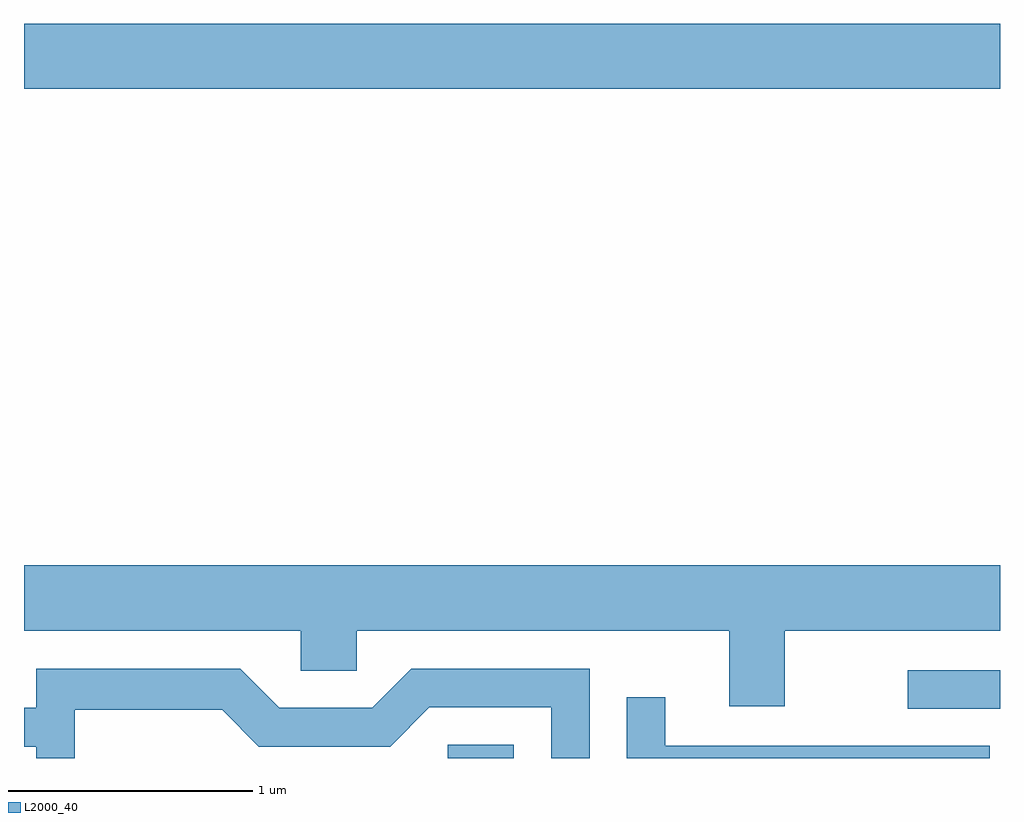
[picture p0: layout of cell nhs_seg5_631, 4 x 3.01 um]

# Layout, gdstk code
import gdstk
lib = gdstk.Library(unit=1e-6, precision=1e-09)
def R(c, l, rs):  # rectangles x0, y0, x1, y1
    for r in rs: c.add(gdstk.rectangle(r[:2], r[2:], *l))
def P(c, l, *ps):  # polygons
    for p in ps: c.add(gdstk.Polygon(p, *l))
L2000_40 = (2000, 40)

nhs_seg5_631 = lib.new_cell('nhs_seg5_631')
R(nhs_seg5_631, L2000_40, [(205.348,1434.072,205.619,1434.129), (207.233,1434.276,207.611,1434.434), (203.611,1436.816,207.611,1437.084)])
P(nhs_seg5_631, L2000_40, [(206.729,1434.596),(207.611,1434.596),(207.611,1434.864),(203.611,1434.864),(203.611,1434.596),(204.746,1434.596),(204.746,1434.431),(204.974,1434.431),(204.974,1434.596),(206.501,1434.596),(206.501,1434.286),(206.729,1434.286)],
  [(203.819,1434.271),(204.424,1434.271),(204.574,1434.121),(205.112,1434.121),(205.272,1434.281),(205.771,1434.281),(205.771,1434.072),(205.929,1434.072),(205.929,1434.439),(205.199,1434.439),(205.039,1434.279),(204.657,1434.279),(204.497,1434.439),(203.661,1434.439),(203.661,1434.279),(203.611,1434.279),(203.611,1434.121),(203.661,1434.121),(203.661,1434.072),(203.819,1434.072)],
  [(207.569,1434.124),(206.239,1434.124),(206.239,1434.323),(206.081,1434.323),(206.081,1434.072),(207.569,1434.072)])

lib.write_gds('nhs_seg5_631.gds')
